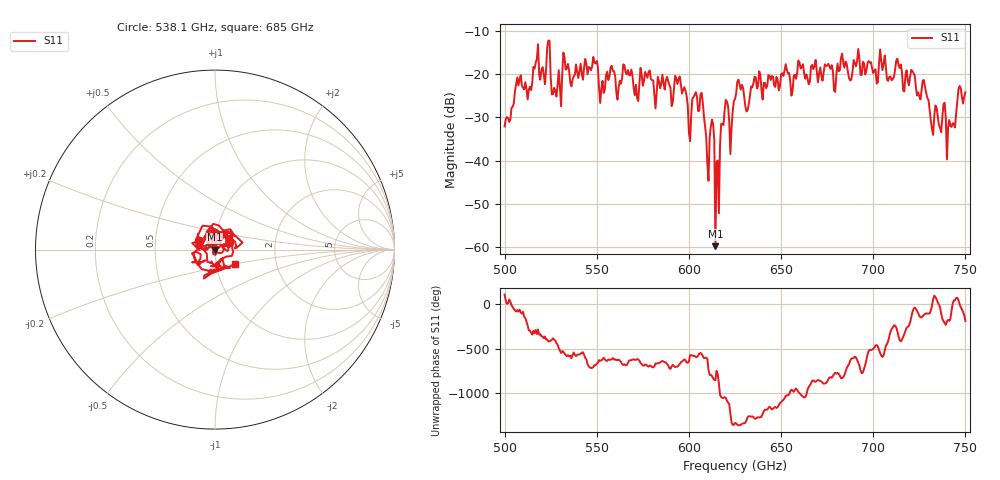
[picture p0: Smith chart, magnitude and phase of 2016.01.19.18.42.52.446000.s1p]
!Created with skrf (http://scikit-rf.org).
# GHz S RI R 50.0
!freq ReS11 ImS11
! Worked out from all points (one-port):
!   401 points, 500 GHz to 750 GHz, reference 50 ohm
!   lowest |S11| = -59.8 dB at 614.4 GHz (marker M1), VSWR 1.00, Z = 49.9 - j0.0738 ohm
!   |S11| at or under -10 dB: start of sweep to end of sweep
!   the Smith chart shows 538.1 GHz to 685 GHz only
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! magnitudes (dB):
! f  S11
! 500 GHz  -32.1
! 507.5 GHz  -22.6
! 513.8 GHz  -22.9
! 516.9 GHz  -17.3
! 520.6 GHz  -18.4
! 523.8 GHz  -12.2
! 526.9 GHz  -23.2
! 531.2 GHz  -20.1
! 549.4 GHz  -17.5
! 552.5 GHz  -23.3
! 558.1 GHz  -18.1
! 562.5 GHz  -21.5
! 593.8 GHz  -22.3
! 600 GHz  -33.5
! 606.9 GHz  -24.3
! 610 GHz  -40.8
! 612.5 GHz  -30.5
! 614.4 GHz  -59.8
! 615.6 GHz  -40.0
! 618.8 GHz  -31.8
! 623.1 GHz  -32.5
! 625 GHz  -25.7
! 656.2 GHz  -23.9
! 660.6 GHz  -18.7
! 687.5 GHz  -21.5
! 718.8 GHz  -21.5
! 741.2 GHz  -30.6
! 750 GHz  -24.2
